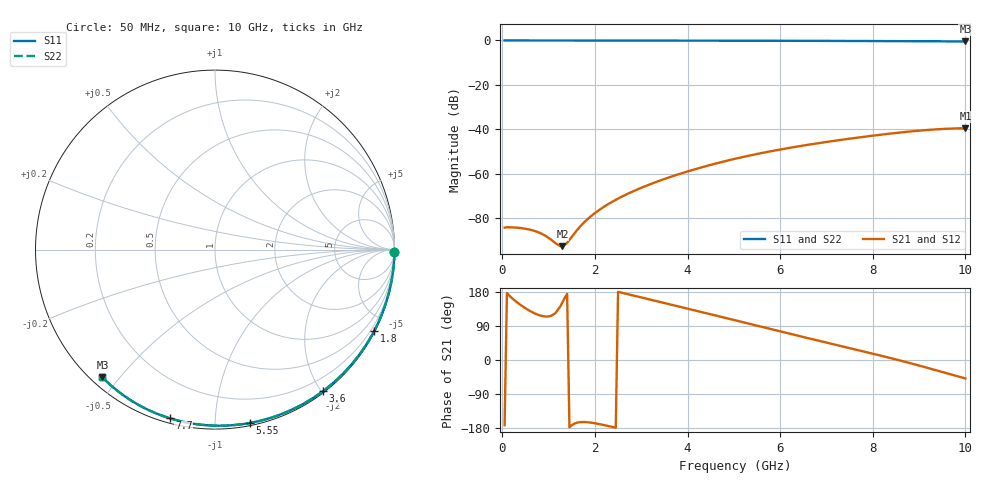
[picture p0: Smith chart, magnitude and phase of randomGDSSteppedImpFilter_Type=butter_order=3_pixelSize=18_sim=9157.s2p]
! freq	dB(S11)	phase(S11)	dB(S12)	phase(S12)
!  dB(S21)	phase(S21)	dB(S22)	phase(S22)
!S-par simulation data
#  GHz  S  DB  R 50
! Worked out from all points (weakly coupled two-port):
!   200 points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, 50 MHz to 10 GHz, reference 50 ohm
!   highest |S21| = -39.45 dB at 10 GHz (marker M1); lowest = -92.5 dB at 1.3 GHz (marker M2)
!   lowest |S11| = -0.5 dB at 10 GHz (marker M3), VSWR 37.85, Z = 1.59 - j22.6 ohm
!   |S11| at or under -10 dB: nowhere
!   |S22| runs from -0.5 to 0.0 dB; largest |S21 - S12| = 0
!   S11 on the Smith chart (normalised r, x): 50 MHz: open; 1.8 GHz: 0.04, -4.17; 3.6 GHz: 0.02, -2.02; 5.55 GHz: 0.02, -1.22; 7.7 GHz: 0.02, -0.77; 10 GHz: 0.03, -0.45
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0.05  -0.00 -0.8  -84.16 -172.1  -84.16 -172.1  -0.00 -0.8
0.65  -0.01 -9.8  -85.37 125.9  -85.37 125.9  -0.01 -9.8
1.3  -0.02 -19.6  -92.52 152.5  -92.52 152.5  -0.02 -19.6
1.75  -0.03 -26.2  -82.17 -163.7  -82.17 -163.7  -0.03 -26.2
1.8  -0.03 -26.9  -81.15 -163.9  -81.15 -163.9  -0.03 -26.9
1.85  -0.04 -27.7  -80.20 -164.3  -80.20 -164.3  -0.04 -27.7
2.05  -0.04 -30.6  -76.85 -168.0  -76.85 -168.0  -0.04 -30.6
2.2  -0.04 -32.8  -74.73 -171.8  -74.73 -171.8  -0.04 -32.8
2.35  -0.05 -35.0  -72.83 -175.9  -72.83 -175.9  -0.05 -35.0
2.55  -0.05 -37.8  -70.57 178.4  -70.57 178.4  -0.05 -37.8
2.95  -0.06 -43.6  -66.70 166.6  -66.70 166.6  -0.06 -43.6
3.4  -0.07 -49.9  -63.04 153.3  -63.04 153.3  -0.07 -49.9
3.6  -0.07 -52.7  -61.59 147.4  -61.59 147.4  -0.07 -52.7
4.3  -0.09 -62.3  -57.09 126.7  -57.09 126.7  -0.09 -62.3
5.05  -0.11 -72.2  -53.10 104.1  -53.10 104.1  -0.11 -72.2
5.55  -0.13 -78.7  -50.84 88.9  -50.84 88.9  -0.13 -78.7
6.1  -0.15 -85.7  -48.67 72.5  -48.67 72.5  -0.15 -85.7
6.7  -0.18 -93.1  -46.60 54.8  -46.60 54.8  -0.18 -93.1
7.7  -0.24 -105.1  -43.62 25.7  -43.62 25.7  -0.24 -105.1
8.35  -0.29 -112.7  -41.95 6.2  -41.95 6.2  -0.29 -112.7
9.25  -0.37 -123.0  -40.15 -23.0  -40.15 -23.0  -0.37 -123.0
10  -0.46 -131.4  -39.45 -48.7  -39.45 -48.7  -0.46 -131.4
